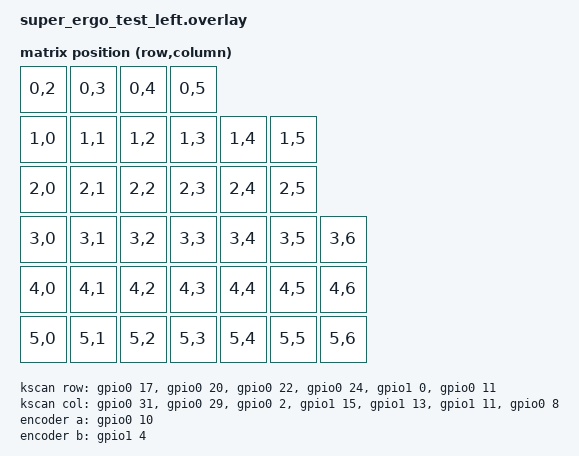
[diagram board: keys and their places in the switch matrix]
#include <dt-bindings/zmk/matrix_transform.h>

#include "super_ergo_test-layouts.dtsi"

/ {
    chosen {
        zmk,physical-layout = &default_layout;
    };

    kscan: kscan {
        compatible = "zmk,kscan-gpio-matrix";
        diode-direction = "col2row";
        wakeup-source;

        // Columns: 031, 029, 002, 115, 113, 111, 008
        col-gpios =
            <&gpio0 31 GPIO_ACTIVE_HIGH>,
            <&gpio0 29 GPIO_ACTIVE_HIGH>,
            <&gpio0  2 GPIO_ACTIVE_HIGH>,
            <&gpio1 15 GPIO_ACTIVE_HIGH>,
            <&gpio1 13 GPIO_ACTIVE_HIGH>,
            <&gpio1 11 GPIO_ACTIVE_HIGH>,
            <&gpio0  8 GPIO_ACTIVE_HIGH>;

        // Rows: 017, 020, 022, 024, 100, 011
        row-gpios =
            <&gpio0 17 (GPIO_ACTIVE_HIGH | GPIO_PULL_DOWN)>,
            <&gpio0 20 (GPIO_ACTIVE_HIGH | GPIO_PULL_DOWN)>,
            <&gpio0 22 (GPIO_ACTIVE_HIGH | GPIO_PULL_DOWN)>,
            <&gpio0 24 (GPIO_ACTIVE_HIGH | GPIO_PULL_DOWN)>,
            <&gpio1  0 (GPIO_ACTIVE_HIGH | GPIO_PULL_DOWN)>,
            <&gpio0 11 (GPIO_ACTIVE_HIGH | GPIO_PULL_DOWN)>;
    };

    default_transform: default_transform {
        compatible = "zmk,matrix-transform";
        columns = <7>;
        rows = <6>;

        map = <
        //   Col0    Col1    Col2    Col3    Col4    Col5    Col6
        // Row 0: 4 keys (starting at col 2)
            RC(0,2) RC(0,3) RC(0,4) RC(0,5)
        // Row 1: 6 keys
            RC(1,0) RC(1,1) RC(1,2) RC(1,3) RC(1,4) RC(1,5)
        // Row 2: 6 keys
            RC(2,0) RC(2,1) RC(2,2) RC(2,3) RC(2,4) RC(2,5)
        // Row 3: 6 keys + encoder button at RC(3,6)
            RC(3,0) RC(3,1) RC(3,2) RC(3,3) RC(3,4) RC(3,5) RC(3,6)
        // Row 4: 7 keys
            RC(4,0) RC(4,1) RC(4,2) RC(4,3) RC(4,4) RC(4,5) RC(4,6)
        // Row 5: 7 keys
            RC(5,0) RC(5,1) RC(5,2) RC(5,3) RC(5,4) RC(5,5) RC(5,6)
        >;
    };

    // Encoder A: 010 (NFC pin), Encoder B: 104
    encoder: encoder {
        compatible = "alps,ec11";
        a-gpios = <&gpio0 10 (GPIO_ACTIVE_HIGH | GPIO_PULL_UP)>;
        b-gpios = <&gpio1  4 (GPIO_ACTIVE_HIGH | GPIO_PULL_UP)>;
        steps = <80>;
        status = "okay";
    };

    sensors: sensors {
        compatible = "zmk,keymap-sensors";
        sensors = <&encoder>;
        triggers-per-rotation = <20>;
    };
};

&uicr {
    nfct-pins-as-gpios;
};

&gpio0 {
    blue-led-hog {
        gpio-hog;
        gpios = <15 0>;
        output-high;
    };
};
